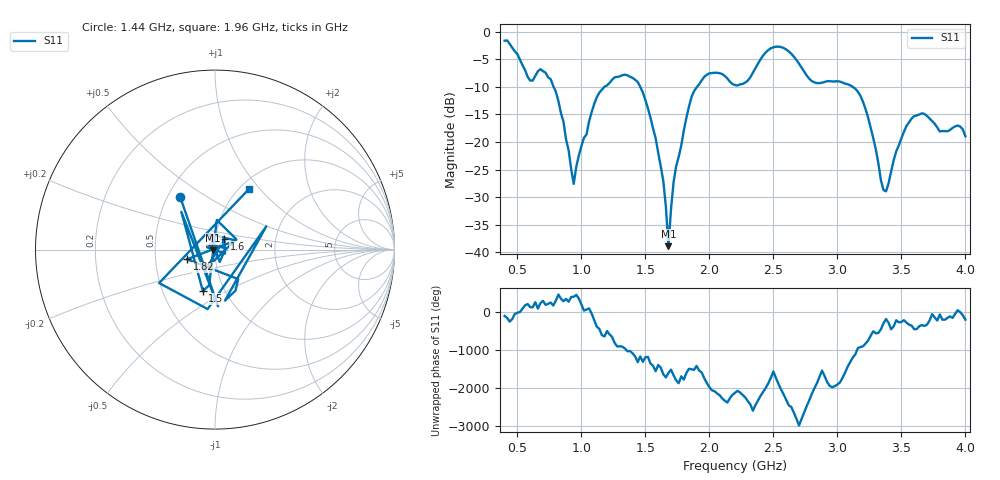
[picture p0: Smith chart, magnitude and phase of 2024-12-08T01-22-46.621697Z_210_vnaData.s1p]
!Created with skrf (http://scikit-rf.org).
# Hz S RI R 50.0
!freq ReS11 ImS11
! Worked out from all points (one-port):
!   181 points, 400 MHz to 4 GHz, reference 50 ohm
!   lowest |S11| = -38.9 dB at 1.68 GHz (marker M1), VSWR 1.02, Z = 48.9 - j0.338 ohm
!   |S11| at or under -10 dB: 783.3 MHz to 1.179 GHz (395.5 MHz wide, 40.3 % of centre); 1.46 GHz to 1.903 GHz (442.6 MHz wide, 26.3 % of centre); 3.121 GHz to end of sweep
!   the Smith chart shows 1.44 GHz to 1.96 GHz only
!   S11 on the Smith chart (normalised r, x): 1.44 GHz: 0.58, +0.39; 1.5 GHz: 0.79, -0.39; 1.6 GHz: 1.10, +0.13; 1.82 GHz: 0.73, -0.08; 1.96 GHz: 1.10, +0.89
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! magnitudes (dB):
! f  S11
! 400 MHz  -1.6
! 600 MHz  -8.9
! 680 MHz  -6.8
! 760 MHz  -8.6
! 860 MHz  -16.3
! 940 MHz  -27.6
! 1.12 GHz  -11.9
! 1.3 GHz  -8.1
! 1.44 GHz  -9.1
! 1.5 GHz  -12.4
! 1.6 GHz  -21.9
! 1.64 GHz  -27.1
! 1.68 GHz  -38.9
! 1.72 GHz  -27.3
! 1.76 GHz  -22.7
! 1.82 GHz  -15.6
! 1.88 GHz  -10.8
! 1.96 GHz  -8.2
! 2.2 GHz  -9.7
! 2.48 GHz  -3.0
! 2.66 GHz  -4.5
! 2.8 GHz  -8.9
! 3.1 GHz  -9.7
! 3.22 GHz  -14.0
! 3.36 GHz  -28.7
! 3.56 GHz  -16.4
! 3.68 GHz  -14.9
! 4 GHz  -19.0
